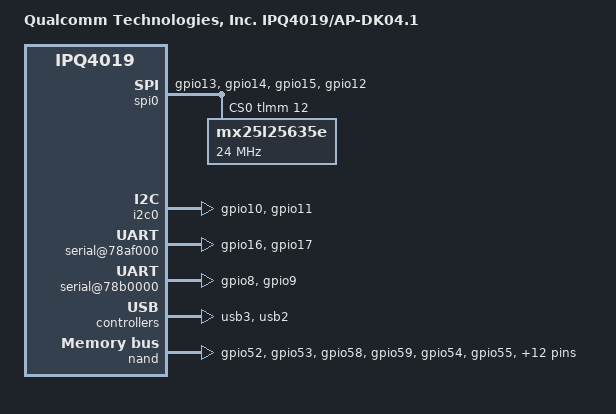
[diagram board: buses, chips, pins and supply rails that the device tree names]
/* Copyright (c) 2015, The Linux Foundation. All rights reserved.
 *
 * Permission to use, copy, modify, and/or distribute this software for any
 * purpose with or without fee is hereby granted, provided that the above
 * copyright notice and this permission notice appear in all copies.
 *
 * THE SOFTWARE IS PROVIDED "AS IS" AND THE AUTHOR DISCLAIMS ALL WARRANTIES
 * WITH REGARD TO THIS SOFTWARE INCLUDING ALL IMPLIED WARRANTIES OF
 * MERCHANTABILITY AND FITNESS. IN NO EVENT SHALL THE AUTHOR BE LIABLE FOR
 * ANY SPECIAL, DIRECT, INDIRECT, OR CONSEQUENTIAL DAMAGES OR ANY DAMAGES
 * WHATSOEVER RESULTING FROM LOSS OF USE, DATA OR PROFITS, WHETHER IN AN
 * ACTION OF CONTRACT, NEGLIGENCE OR OTHER TORTIOUS ACTION, ARISING OUT OF
 * OR IN CONNECTION WITH THE USE OR PERFORMANCE OF THIS SOFTWARE.
 *
 */

#include "qcom-ipq4019.dtsi"
#include <dt-bindings/gpio/gpio.h>

/ {
	model = "Qualcomm Technologies, Inc. IPQ4019/AP-DK04.1";
	compatible = "qcom,ipq4019";

	soc {
		pinctrl@1000000 {
			serial_0_pins: serial_pinmux {
				mux {
					pins = "gpio16", "gpio17";
					function = "blsp_uart0";
					bias-disable;
				};
			};

			serial_1_pins: serial1_pinmux {
				mux {
					pins = "gpio8", "gpio9";
					function = "blsp_uart1";
					bias-disable;
				};
			};

			spi_0_pins: spi_0_pinmux {
				pinmux {
					function = "blsp_spi0";
					pins = "gpio13", "gpio14", "gpio15";
				};
				pinmux_cs {
					function = "gpio";
					pins = "gpio12";
				};
				pinconf {
					pins = "gpio13", "gpio14", "gpio15";
					drive-strength = <12>;
					bias-disable;
				};
				pinconf_cs {
					pins = "gpio12";
					drive-strength = <2>;
					bias-disable;
					output-high;
				};
			};

			i2c_0_pins: i2c_0_pinmux {
				pinmux {
					function = "blsp_i2c0";
					pins = "gpio10", "gpio11";
				};
				pinconf {
					pins = "gpio10", "gpio11";
					drive-strength = <16>;
					bias-disable;
				};
			};

			nand_pins: nand_pins {

				pullups {
					pins = "gpio52", "gpio53", "gpio58",
						"gpio59";
					function = "qpic";
					bias-pull-up;
				};

				pulldowns {
					pins = "gpio54", "gpio55", "gpio56",
						"gpio57", "gpio60", "gpio61",
						"gpio62", "gpio63", "gpio64",
						"gpio65", "gpio66", "gpio67",
						"gpio68", "gpio69";
					function = "qpic";
					bias-pull-down;
				};
			};
		};

		blsp_dma: dma@7884000 {
			status = "okay";
		};

		spi0: spi@78b5000 {
			pinctrl-0 = <&spi_0_pins>;
			pinctrl-names = "default";
			status = "okay";
			cs-gpios = <&tlmm 12 GPIO_ACTIVE_HIGH>;

			mx25l25635e@0 {
				#address-cells = <1>;
				#size-cells = <1>;
				reg = <0>;
				compatible = "mx25l25635e";
				spi-max-frequency = <24000000>;
			};
		};

		i2c0: i2c@78b7000 { /* BLSP1 QUP2 */
			pinctrl-0 = <&i2c_0_pins>;
			pinctrl-names = "default";

			status = "okay";
		};

		serial@78af000 {
			pinctrl-0 = <&serial_0_pins>;
			pinctrl-names = "default";
			status = "okay";
		};

		serial@78b0000 {
			pinctrl-0 = <&serial_1_pins>;
			pinctrl-names = "default";
			status = "okay";
		};

		usb3_ss_phy: ssphy@9a000 {
			status = "okay";
		};

		usb3_hs_phy: hsphy@a6000 {
			status = "okay";
		};

		usb3: usb3@8af8800 {
			status = "okay";
		};

		usb2_hs_phy: hsphy@a8000 {
			status = "okay";
		};

		usb2: usb2@60f8800 {
			status = "okay";
		};

		cryptobam: dma@8e04000 {
			status = "okay";
		};

		crypto@8e3a000 {
			status = "okay";
		};

		watchdog@b017000 {
			status = "okay";
		};

		qpic_bam: dma@7984000 {
			status = "okay";
		};

		nand: qpic-nand@79b0000 {
			pinctrl-0 = <&nand_pins>;
			pinctrl-names = "default";
			status = "okay";
		};
	};
};
